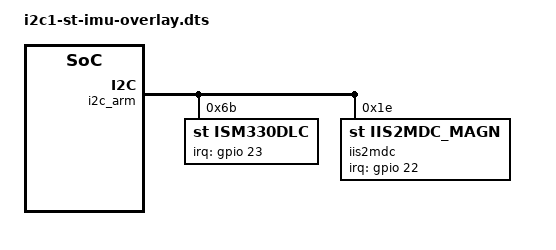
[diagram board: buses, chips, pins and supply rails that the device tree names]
#include "i2c1-overlay.dts"

/{
	fragment@0 {
		target = <&i2c_arm>;
		__overlay__ {
			#address-cells = <1>;
			#size-cells = <0>;
			status = "okay";

			ism330dlc: ism330dlc@6b {
				compatible = "st,ism330dlc";
				reg = <0x6b>;
				status = "okay";
				interrupt-parent = <&gpio>;
				interrupts = <23 0x4>;
			};

			iis2mdc: iis2mdc@1e {
				compatible = "st,iis2mdc_magn";
				reg = <0x1e>;
				status = "okay";
				interrupt-parent = <&gpio>;
				interrupts = <22 0x4>;
			};
		};
	};
};
